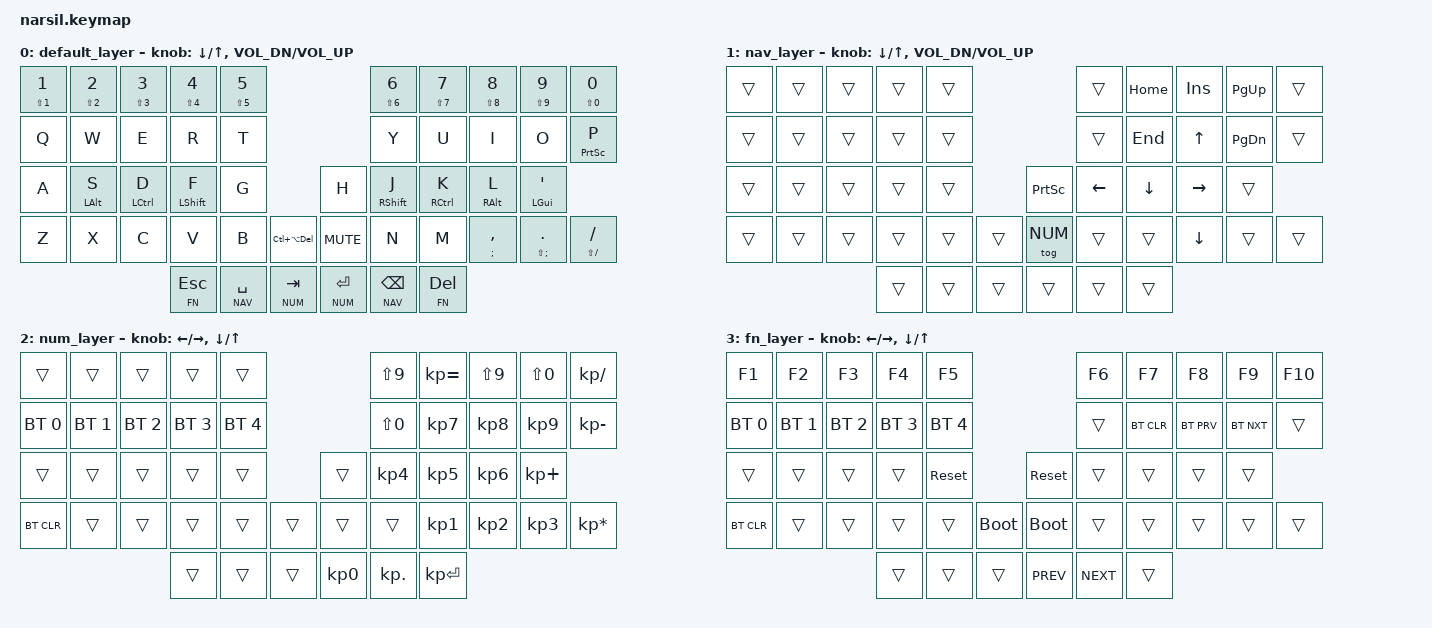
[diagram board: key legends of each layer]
/*
  * Copyright (c) 2020 The ZMK Contributors
  *
  * SPDX-License-Identifier: MIT
  *
  */

#include <behaviors.dtsi>
#include <dt-bindings/zmk/bt.h>
#include <dt-bindings/zmk/keys.h>

// #include <dt-bindings/zmk/dynamic-macros.h>

#define DEFAULT 0
#define NAV     1
#define FN      2
#define NUM     3

&mt {
    quick-tap-ms = <100>;
    global-quick-tap;
    flavor = "tap-preferred";
    tapping-term-ms = <180>;
};

/ {
    behaviors {
        pht: positional_hold_tap {
            compatible = "zmk,behavior-hold-tap";
            label = "POSITIONAL_HOLD_TAP";
            #binding-cells = <2>;
            flavor = "hold-preferred";
            tapping-term-ms = <400>;
            quick-tap-ms = <200>;
            bindings = <&kp>, <&kp>;

            hold-trigger-key-positions = <1>;    // <---[[the W key]]
        };
        gqt: global-quick-tap {
            compatible = "zmk,behavior-hold-tap";
            label = "GLOBAL_QUICK_TAP";
            #binding-cells = <2>;
            flavor = "tap-preferred";
            tapping-term-ms = <200>;
            quick-tap-ms = <125>;
            global-quick-tap;
            bindings = <&kp>, <&kp>;
        };
    };
};

&sk {
    release-after-ms = <2000>;
    quick-release;

    /delete-property/ ignore-modifiers;
};

/ {
    combos {
        compatible = "zmk,combos";

        combo_grave {
            bindings = <&kp GRAVE>;
            key-positions = <0 1>;
            layers = <0>;
        };

        combo_capslock {
            bindings = <&caps_word>;
            key-positions = <23 26>;
            layers = <0>;
        };

        combo_hyphen {
            bindings = <&kp MINUS>;
            key-positions = <8 9>;
            layers = <0>;
        };

        combo_equals {
            bindings = <&kp EQUAL>;
            key-positions = <18 19>;
            layers = <0>;
        };

        combo_backslash {
            bindings = <&kp BSLH>;
            key-positions = <38 39>;
            layers = <0>;
        };

        combo_rcd {
            bindings = <&rcd_macro>;
            key-positions = <12 13>;
            require-prior-idle-ms = <50>;
        };

        combo_rtc {
            bindings = <&rtc_macro>;
            key-positions = <13 14>;
        };

        open_par {
            bindings = <&kp LEFT_PARENTHESIS>;
            key-positions = <43 44>;
        };

        close_par {
            bindings = <&kp RIGHT_PARENTHESIS>;
            key-positions = <45 46>;
        };

        open_brkt {
            bindings = <&kp LEFT_BRACKET>;
            key-positions = <42 43>;
        };

        close_brkt {
            bindings = <&kp RIGHT_BRACKET>;
            key-positions = <46 47>;
        };

        wes_combo {
            bindings = <&wes_macro>;
            key-positions = <11 12>;
        };
    };
};

/ {
    macros {
        rcd_macro: rcd_macro {
            compatible = "zmk,behavior-macro";
            #binding-cells = <0>;
            bindings = <&kp R &kp I &kp T &kp C &kp H &kp I &kp E &kp UNDER &kp C &kp H &kp R &kp I &kp S &kp T &kp I &kp A &kp N &kp UNDER &kp D &kp AT &kp C &kp A &kp T &kp DOT &kp C &kp O &kp M>;
            label = "RCD_MACRO";
            wait-ms = <30>;
            tap-ms = <50>;
        };
        rtc_macro: rtc_macro {
            compatible = "zmk,behavior-macro";
            #binding-cells = <0>;
            bindings = <&none &kp R &kp I &kp T &kp C &kp H &kp C &kp D>;
            label = "RTC_MACRO";
        };
        wes_macro: wes_macro {
            compatible = "zmk,behavior-macro";
            #binding-cells = <0>;
            bindings = <&none &kp W &kp E &kp DOT &kp E &kp A &kp T &kp DOT &kp S &kp P &kp A &kp M &kp A &kp L &kp O &kp T &kp AT &kp G &kp M &kp A &kp I &kp L &kp DOT &kp C &kp O &kp M>;
            label = "WES_MACRO";
        };
    };

    keymap {
        compatible = "zmk,keymap";

        default_layer {
            // -------------------------------------------------------------------------------------------------
            // | 1     | 2    | 3    | 4   | 5   |                               | 6   | 7   | 8   | 9   | 0   |
            // | Q     | W    | E    | R   | T   |                               | Y   | U   | I   | O   | P   |
            // | A     | S    | D    | F   | G   |                               | H   | J   | K   | L   | ;   |
            // | Z     | X    | C    | V   | B   |  C/A/D  |            |  MUTE  | N   | M   | ,   | .   | /   |
            //                     | FN/ESC|NAV/SPACE|NUM/TAB|      |NUM/ENTER|NAV/BSPACE|FN/DEL |

            bindings = <
&gqt LS(N1) N1  &gqt LS(N2) N2  &gqt LS(N3) N3  &gqt LS(N4) N4  &gqt LS(N5) N5                                                    &gqt LS(N6) N6               &gqt LS(N7) N7              &gqt LS(N8) N8                 &gqt LS(N9) N9     &gqt LS(N0) N0
&kp Q           &kp W           &kp E           &kp R           &kp T                                                             &kp Y                        &kp U                       &kp I                          &kp O              &gqt PSCRN P
&kp A           &mt LALT S      &mt LCTRL D     &mt LSHFT F     &kp G                            &kp H               &mt RSHFT J                  &mt RCTRL K                  &mt RALT L                   &mt LGUI SQT
&kp Z           &kp X           &kp C           &kp V           &kp B           &kp LC(LA(DEL))         &kp C_MUTE                &kp N                        &kp M                       &gqt SEMI COMMA                &gqt LS(SEMI) DOT  &gqt LS(FSLH) FSLH
                                                &lt FN ESC      &lt NAV SPACE   &lt NUM TAB             &lt NUM RET               &lt NAV BSPC                 &lt FN DEL
            >;

            sensor-bindings = <&inc_dec_kp DOWN UP &inc_dec_kp C_VOL_DN C_VOL_UP>;
        };

        nav_layer {
            // -------------------------------------------------------------------------------------------------
            // | none  | none  | none  | none  | none |                  | none  | HOME | INS  | PG_UP | none  | 
            // | none  | none  | none  | none  | none |                  | none  | END  | UP   | PG_DN | none  | 
            // | none  | none  | none  | none  | none |                  | PSCRN | LEFT | DOWN | RIGHT | none  | 
            // | none  | none  | none  | none  | none | trans |  | trans | none  | none | none | none  | none  | 
            //                         | trans | trans| trans |  | trans | trans | trans|      

            bindings = <
&trans  &trans  &trans  &trans  &trans                                         &trans            &kp HOME             &kp INS           &kp PG_UP  &trans
&trans  &trans  &trans  &trans  &trans                                         &trans            &kp END              &kp UP            &kp PG_DN  &trans
&trans  &trans  &trans  &trans  &trans          &kp PSCRN            &kp LEFT          &kp DOWN            &kp RIGHT            &trans
&trans  &trans  &trans  &trans  &trans  &trans             &tog NUM            &trans            &trans               &kp DOWN          &trans     &trans
                        &trans  &trans  &trans             &trans              &trans            &trans
            >;

            sensor-bindings = <&inc_dec_kp DOWN UP &inc_dec_kp C_VOL_DN C_VOL_UP>;
        };

        num_layer {
            // -------------------------------------------------------------------------------------------------
            //  | none | none  | none  | none  | none |                  | (     | 	 =     | (   |   ) | /  | 
            //  | BT0  | BT1   | BT2   | BT3   | BT4  |                  |     ) |    7    | 8   | 9   | -  | 
            //  | none | none  | none  | none  | none |                  | none  |    4    | 5   | 6   | +  | 
            //  |BT_CLR| none  | none  | none  | none | trans |  | trans | none  |    1    | 2   | 3   | *  | 
            //                         | trans | trans| trans |  |    0  | .     | ENTER   | 

            bindings = <
&trans        &trans        &trans        &trans        &trans                                              &kp LS(N9)             &kp KP_EQUAL             &kp LS(N9)               &kp LS(N0)  &kp KP_SLASH
&bt BT_SEL 0  &bt BT_SEL 1  &bt BT_SEL 2  &bt BT_SEL 3  &bt BT_SEL 4                                        &kp LS(N0)             &kp KP_N7                &kp KP_N8                &kp KP_N9   &kp KP_MINUS
&trans        &trans        &trans        &trans        &trans                &trans             &kp KP_N4              &kp KP_N5                &kp KP_N6              &kp KP_PLUS
&bt BT_CLR    &trans        &trans        &trans        &trans        &trans          &trans                &trans                 &kp KP_N1                &kp KP_N2                &kp KP_N3   &kp KP_ASTERISK
                                          &trans        &trans        &trans          &kp KP_N0             &kp KP_DOT             &kp KP_ENTER
            >;

            sensor-bindings = <&inc_dec_kp LEFT RIGHT &inc_dec_kp DOWN UP>;
        };

        fn_layer {
            // ---------------------------------------------------------------------------------------------------------------------
            // | F1     | F2      | F3      | F4      | F5       |                      | F6    | F7     | F8     | F9      | F10  |
            // |BT_SEL 0| BT_SEL 1| BT_SEL 2| BT_SEL 3| BT_SEL 4 |                      | none  | BT_CLR | BT_PRV | BT_NXT  | none |
            // | OUT_TOG|    (    |    )    | none    | reset    |                      | reset | none   | none   | none    | none |
            // |BT_CLR  |    [    |    ]    | none    | trans    |bootloader||bootloader| none  | none   | none   | none    | MacroCORD? |
            //                              | trans   | trans    |   trans  ||  trans   | trans | trans  | 

            bindings = <
&kp F1        &kp F2        &kp F3        &kp F4        &kp F5                                                      &kp F6              &kp F7              &kp F8              &kp F9      &kp F10
&bt BT_SEL 0  &bt BT_SEL 1  &bt BT_SEL 2  &bt BT_SEL 3  &bt BT_SEL 4                                                &trans              &bt BT_CLR          &bt BT_PRV          &bt BT_NXT  &trans
&trans        &trans        &trans        &trans        &sys_reset                 &sys_reset               &trans              &trans              &trans              &trans
&bt BT_CLR    &trans        &trans        &trans        &trans        &bootloader              &bootloader          &trans              &trans              &trans              &trans      &trans
                                          &trans        &trans        &trans                   &kp C_PREV           &kp C_NEXT          &trans
            >;

            sensor-bindings = <&inc_dec_kp LEFT RIGHT &inc_dec_kp DOWN UP>;
        };
    };
};
